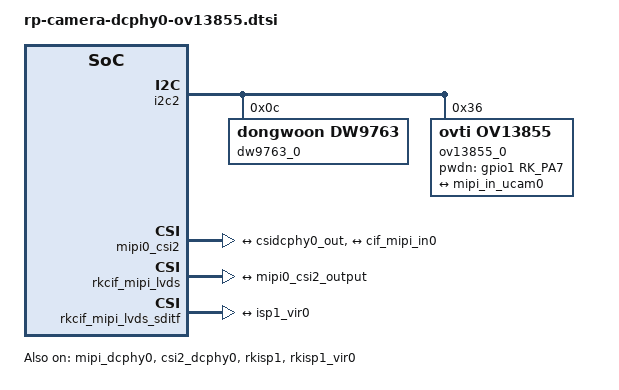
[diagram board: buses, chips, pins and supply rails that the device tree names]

&i2c2 {
    status = "okay";
    pinctrl-names = "default";
    pinctrl-0 = <&i2c2m4_xfer>;

    dw9763_0: dw9763_0@c {
                compatible = "dongwoon,dw9763";
                status = "okay";
                reg = <0x0c>;
                rockchip,vcm-max-current = <120>;
                rockchip,vcm-start-current = <20>;
                rockchip,vcm-rated-current = <90>;
                rockchip,vcm-step-mode = <3>;
                rockchip,vcm-t-src = <0x20>;
                rockchip,vcm-t-div = <1>;
                rockchip,camera-module-index = <0>;
                rockchip,camera-module-facing = "front";
        };
  
    ov13855_0: ov13855_0@36 {
        compatible = "ovti,ov13855";
        status = "okay";
        reg = <0x36>;
        clocks = <&cru CLK_MIPI_CAMARAOUT_M1>;
        clock-names = "xvclk";
        power-domains = <&power RK3588_PD_VI>;
        pinctrl-names = "default";
        pinctrl-0 = <&mipim0_camera1_clk>;
        rockchip,grf = <&sys_grf>;
        pwdn-gpios = <&gpio1 RK_PA7 GPIO_ACTIVE_HIGH>;
        rockchip,camera-module-index = <0>;
        rockchip,camera-module-facing = "front";
        rockchip,camera-module-name = "CMK-OT2016-FV1";
        rockchip,camera-module-lens-name = "default";
        lens-focus = <&dw9763_0>;
        port {
            ov13855_out0: endpoint {
                remote-endpoint = <&mipi_in_ucam0>;
                data-lanes = <1 2 3 4>;
            };
        };
    };
};


&mipi_dcphy0 {
    status = "okay";
};

&csi2_dcphy0 {
    status = "okay";

    ports {
        #address-cells = <1>;
        #size-cells = <0>;
    port@0 {
            reg = <0>;
            #address-cells = <1>;
            #size-cells = <0>;

            mipi_in_ucam0: endpoint@1 {
                reg = <1>;
                remote-endpoint = <&ov13855_out0>;
        data-lanes = <1 2 3 4>;
            };
        };

        port@1 {
            reg = <1>;
            #address-cells = <1>;
            #size-cells = <0>;

            csidcphy0_out: endpoint@0 {
                reg = <0>;
                remote-endpoint = <&mipi0_csi2_input>;
            };
        };
    };
};

&mipi0_csi2 {
    status = "okay";

    ports {
        #address-cells = <1>;
        #size-cells = <0>;

        port@0 {
            reg = <0>;
            #address-cells = <1>;
            #size-cells = <0>;

            mipi0_csi2_input: endpoint@0 {
                reg = <0>;
                remote-endpoint = <&csidcphy0_out>;
            };
        };

        port@1 {
            reg = <1>;
            #address-cells = <1>;
            #size-cells = <0>;

            mipi0_csi2_output: endpoint@1 {
                reg = <1>;
                remote-endpoint = <&cif_mipi_in0>;
            };
        };
    };
};

&rkcif_mipi_lvds {
    status = "okay";

    port {
        cif_mipi_in0: endpoint {
            remote-endpoint = <&mipi0_csi2_output>;
        };
    };
};

&rkcif_mipi_lvds_sditf {
    status = "okay";

    port {
        mipi_lvds_sditf: endpoint {
            remote-endpoint = <&isp1_vir0>;
        };
    };
};

&rkisp1 {
    status = "okay";
};

&isp1_mmu {
    status = "okay";
};

&rkisp1_vir0 {
    status = "okay";
    port {
        #address-cells = <1>;
        #size-cells = <0>;

        isp1_vir0: endpoint@0 {
            reg = <0>;
            remote-endpoint = <&mipi_lvds_sditf>;
        };
    };
};



